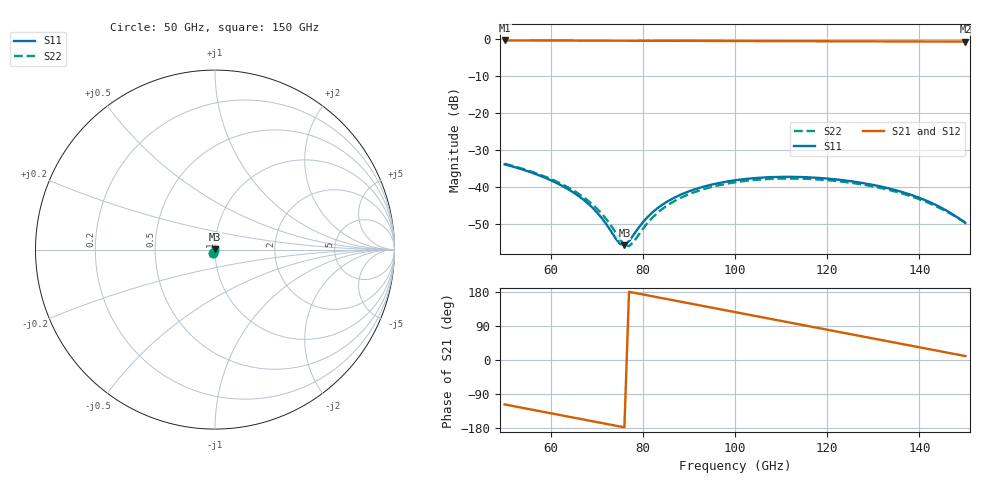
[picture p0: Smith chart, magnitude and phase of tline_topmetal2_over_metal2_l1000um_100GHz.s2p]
#  GHZ S DB R 50
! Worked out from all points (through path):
!   101 points, 50 GHz to 150 GHz, reference 50 ohm
!   highest |S21| = -0.44 dB at 50 GHz (marker M1); lowest = -0.7 dB at 150 GHz (marker M2)
!   group delay of S21, straight-line fit = 6.45 ps
!   lowest |S11| = -55.7 dB at 76 GHz (marker M3), VSWR 1.00, Z = 50 + j0.161 ohm
!   |S11| at or under -10 dB: start of sweep to end of sweep
!   |S22| runs from -56.0 to -33.8 dB; largest |S21 - S12| = 1.6e-13
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50  -33.91 -117.8  -0.44 -117.3  -0.44 -117.3  -33.75 -118.0
55  -35.76 -132.6  -0.46 -128.9  -0.46 -128.9  -35.53 -132.7
60  -38.19 -148.1  -0.48 -140.5  -0.48 -140.5  -37.85 -148.0
64  -40.78 -161.7  -0.49 -149.8  -0.49 -149.8  -40.29 -161.3
67  -43.35 -173.5  -0.50 -156.8  -0.50 -156.8  -42.67 -172.6
71  -48.27 164.4  -0.51 -166.1  -0.51 -166.1  -47.11 167.8
73  -51.79 144.6  -0.51 -170.8  -0.51 -170.8  -50.26 152.3
75  -55.34 106.4  -0.52 -175.4  -0.52 -175.4  -54.11 124.7
76  -55.73 79.1  -0.52 -177.7  -0.52 -177.7  -55.68 101.9
77  -54.66 54.2  -0.52 179.9  -0.52 179.9  -56.00 74.4
78  -52.92 35.9  -0.53 177.6  -0.53 177.6  -54.88 49.7
81  -48.18 6.1  -0.54 170.6  -0.54 170.6  -49.77 9.7
84  -45.00 -10.0  -0.54 163.7  -0.54 163.7  -46.16 -9.1
87  -42.81 -22.3  -0.55 156.7  -0.55 156.7  -43.72 -22.2
91  -40.76 -36.3  -0.57 147.4  -0.57 147.4  -41.49 -36.8
100  -38.21 -64.5  -0.59 126.5  -0.59 126.5  -38.76 -65.4
109  -37.32 -91.1  -0.62 105.5  -0.62 105.5  -37.78 -92.4
117  -37.48 -114.3  -0.65 87.0  -0.65 87.0  -37.91 -116.0
125  -38.44 -137.7  -0.67 68.4  -0.67 68.4  -38.86 -139.9
134  -40.60 -165.4  -0.70 47.5  -0.70 47.5  -41.00 -168.4
143  -44.52 161.7  -0.73 26.6  -0.73 26.6  -44.85 156.8
150  -49.73 121.1  -0.75 10.4  -0.75 10.4  -49.61 113.3
